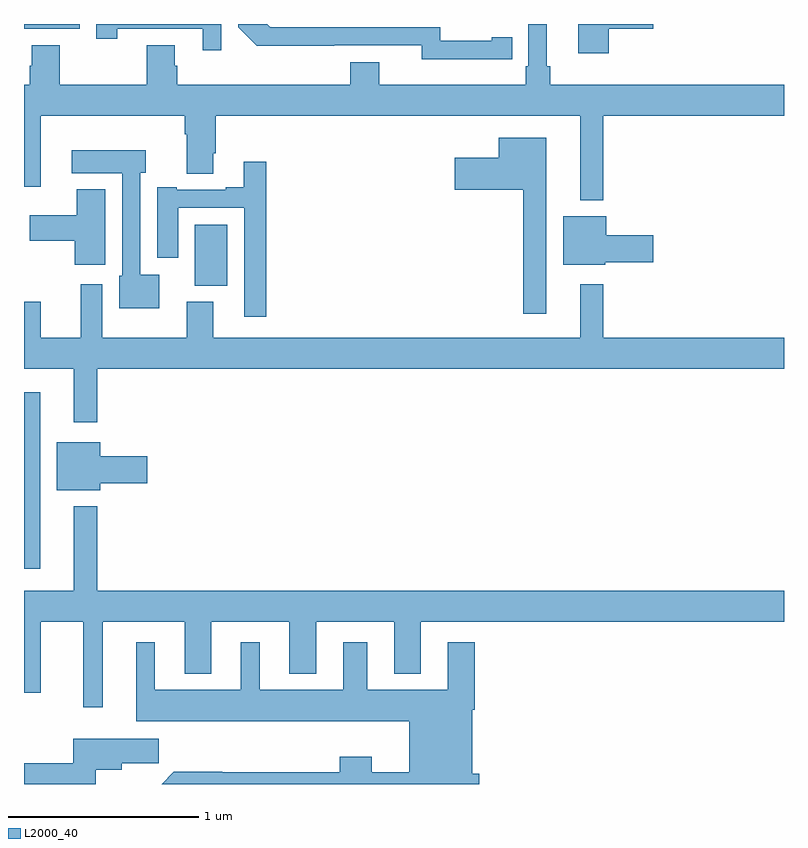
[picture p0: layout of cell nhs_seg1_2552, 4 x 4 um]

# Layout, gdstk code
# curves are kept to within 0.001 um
import gdstk
lib = gdstk.Library(unit=1e-6, precision=1e-09)
def R(c, l, rs):  # rectangles x0, y0, x1, y1
    for r in rs: c.add(gdstk.rectangle(r[:2], r[2:], *l))
def P(c, l, *ps):  # polygons
    for p in ps: c.add(gdstk.Polygon(p, *l))
L2000_40 = (2000, 40)

nhs_seg1_2552 = lib.new_cell('nhs_seg1_2552')
R(nhs_seg1_2552, L2000_40, [(249,565.331,249.085,566.26), (249.899,566.822,250.069,567.142), (249,568.173,249.294,568.199)])
P(nhs_seg1_2552, L2000_40, [(250.038,568.199),(249.379,568.199),(249.379,568.122),(249.49,568.122),(249.49,568.173),(249.941,568.173),(249.941,568.062),(250.038,568.062)],
  [(251.462,568.014),(251.57,568.014),(251.57,568.13),(251.462,568.13),(251.462,568.11),(251.19,568.11),(251.19,568.182),(250.296,568.182),(250.279,568.199),(250.128,568.199),(250.128,568.182),(250.226,568.085),(251.094,568.086),(251.094,568.013)],
  [(252.077,568.174),(252.313,568.174),(252.313,568.199),(251.918,568.199),(251.918,568.044),(252.077,568.044)],
  [(251.752,567.976),(251.752,568.199),(251.655,568.199),(251.655,567.976),(251.642,567.976),(251.642,567.88),(250.87,567.88),(250.87,567.997),(250.718,567.997),(250.718,567.88),(249.806,567.88),(249.806,567.978),(249.793,567.978),(249.793,568.088),(249.646,568.088),(249.646,567.88),(249.189,567.88),(249.189,568.088),(249.041,568.088),(249.041,567.978),(249.029,567.978),(249.029,567.88),(249,567.88),(249,567.342),(249.088,567.342),(249.088,567.716),(249.845,567.716),(249.845,567.62),(249.857,567.62),(249.857,567.412),(249.997,567.412),(249.997,567.52),(250.01,567.52),(250.01,567.716),(251.927,567.716),(251.927,567.272),(252.049,567.272),(252.049,567.716),(253,567.716),(253,567.88),(251.771,567.88),(251.771,567.976)],
  [(251.749,567.601),(251.498,567.601),(251.498,567.496),(251.268,567.496),(251.268,567.326),(251.628,567.326),(251.628,566.673),(251.749,566.673)],
  [(249.712,566.878),(249.612,566.878),(249.612,567.417),(249.64,567.417),(249.64,567.535),(249.252,567.535),(249.252,567.413),(249.516,567.413),(249.516,566.874),(249.5,566.874),(249.5,566.702),(249.712,566.702)],
  [(250.274,567.475),(250.157,567.475),(250.157,567.34),(250.061,567.34),(250.061,567.327),(249.805,567.327),(249.805,567.34),(249.701,567.34),(249.701,566.97),(249.811,566.97),(249.811,567.231),(250.158,567.231),(250.158,566.658),(250.274,566.658)],
  [(249.427,567.328),(249.278,567.328),(249.278,567.193),(249.03,567.193),(249.03,567.059),(249.266,567.059),(249.266,566.931),(249.427,566.931)],
  [(252.06,566.944),(252.313,566.944),(252.313,567.086),(252.064,567.086),(252.064,567.187),(251.837,567.187),(251.837,566.933),(252.06,566.933)],
  [(249.385,566.384),(253,566.384),(253,566.548),(252.049,566.548),(252.049,566.83),(251.927,566.83),(251.927,566.548),(249.997,566.548),(249.997,566.737),(249.857,566.737),(249.857,566.548),(249.412,566.548),(249.412,566.83),(249.299,566.83),(249.299,566.548),(249.088,566.548),(249.088,566.737),(249,566.737),(249,566.384),(249.263,566.384),(249.263,566.103),(249.385,566.103)],
  [(249.4,565.781),(249.649,565.781),(249.649,565.923),(249.4,565.923),(249.4,565.999),(249.173,565.999),(249.173,565.745),(249.4,565.745)],
  [(249.415,565.052),(249.845,565.052),(249.845,564.779),(249.985,564.779),(249.985,565.052),(250.397,565.052),(250.397,564.779),(250.537,564.779),(250.537,565.052),(250.949,565.052),(250.949,564.779),(251.089,564.779),(251.089,565.052),(253,565.052),(253,565.216),(249.385,565.216),(249.385,565.66),(249.263,565.66),(249.263,565.216),(249,565.216),(249,564.678),(249.088,564.678),(249.088,565.052),(249.311,565.052),(249.311,564.603),(249.415,564.603)],
  [(251.396,564.252),(251.359,564.252),(251.359,564.59),(251.372,564.59),(251.372,564.946),(251.231,564.946),(251.231,564.694),(250.807,564.694),(250.807,564.946),(250.679,564.946),(250.679,564.694),(250.24,564.694),(250.24,564.946),(250.142,564.946),(250.142,564.694),(249.688,564.694),(249.688,564.946),(249.59,564.946),(249.59,564.53),(251.027,564.53),(251.027,564.26),(250.831,564.26),(250.831,564.343),(250.661,564.343),(250.661,564.26),(250.043,564.26),(250.043,564.263),(249.788,564.263),(249.724,564.199),(251.396,564.199)],
  [(249.377,564.275),(249.514,564.275),(249.514,564.307),(249.709,564.307),(249.709,564.436),(249.259,564.436),(249.259,564.307),(249,564.307),(249,564.199),(249.377,564.199)])

lib.write_gds('nhs_seg1_2552.gds')
